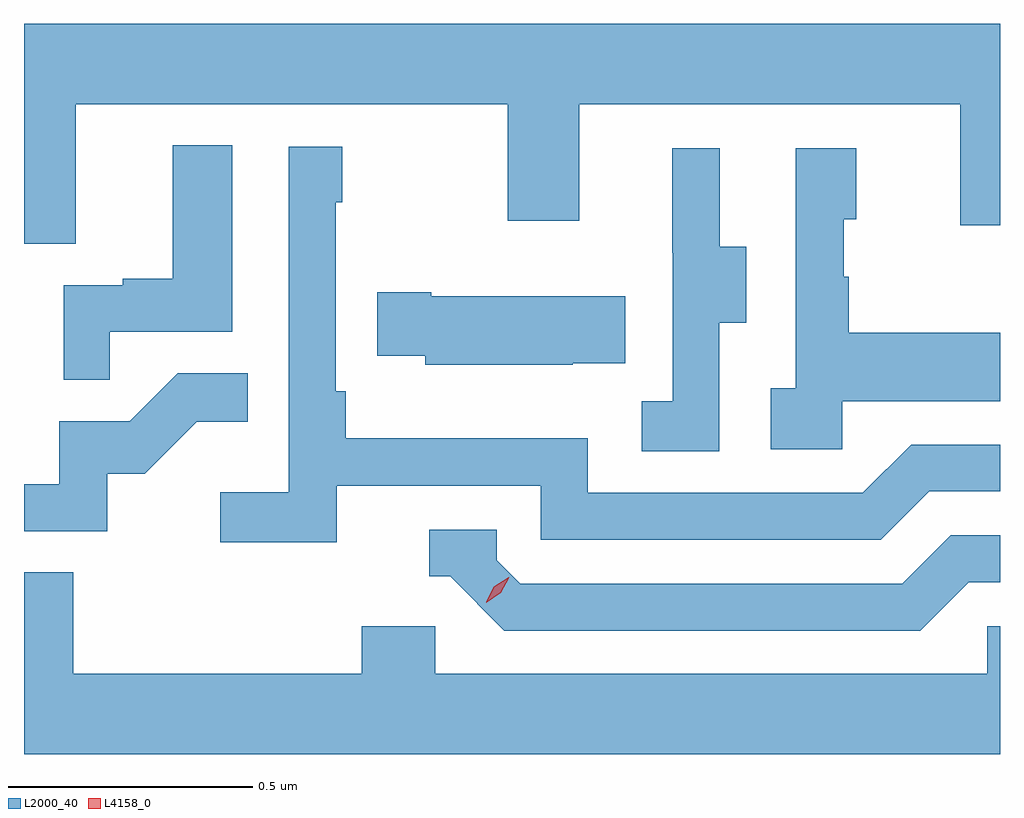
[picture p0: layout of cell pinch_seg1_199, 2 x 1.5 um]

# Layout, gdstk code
import gdstk
lib = gdstk.Library(unit=1e-6, precision=1e-09)
def P(c, l, *ps):  # polygons
    for p in ps: c.add(gdstk.Polygon(p, *l))
L2000_40 = (2000, 40)
L4158_0 = (4158, 0)

pinch_seg1_199 = lib.new_cell('pinch_seg1_199')
P(pinch_seg1_199, L2000_40, [(964.585,582.368),(965.47,582.368),(965.47,582.129),(965.617,582.129),(965.617,582.368),(966.398,582.368),(966.398,582.12),(966.479,582.12),(966.479,582.532),(964.479,582.532),(964.479,582.082),(964.585,582.082)],
  [(964.655,581.901),(964.906,581.901),(964.906,582.283),(964.784,582.283),(964.784,582.01),(964.681,582.01),(964.681,581.997),(964.56,581.997),(964.56,581.803),(964.655,581.803)],
  [(965.12,581.586),(965.538,581.586),(965.538,581.475),(966.235,581.475),(966.334,581.574),(966.479,581.574),(966.479,581.67),(966.297,581.67),(966.198,581.571),(965.634,581.571),(965.634,581.683),(965.138,581.683),(965.138,581.779),(965.118,581.779),(965.118,582.167),(965.131,582.167),(965.131,582.28),(965.022,582.28),(965.022,581.572),(964.881,581.572),(964.881,581.47),(965.12,581.47)],
  [(965.904,581.92),(965.959,581.92),(965.959,582.075),(965.905,582.075),(965.905,582.277),(965.807,582.277),(965.807,582.063),(965.808,582.063),(965.808,581.759),(965.745,581.759),(965.745,581.656),(965.904,581.656)],
  [(966.156,581.759),(966.479,581.759),(966.479,581.899),(966.169,581.899),(966.169,582.014),(966.159,582.014),(966.159,582.132),(966.184,582.132),(966.184,582.277),(966.06,582.277),(966.06,581.786),(966.009,581.786),(966.009,581.661),(966.156,581.661)],
  [(965.603,581.837),(965.711,581.837),(965.711,581.974),(965.314,581.974),(965.314,581.982),(965.203,581.982),(965.203,581.852),(965.301,581.852),(965.301,581.834),(965.603,581.834)],
  [(964.65,581.61),(964.726,581.61),(964.833,581.717),(964.937,581.717),(964.937,581.816),(964.794,581.816),(964.696,581.718),(964.551,581.718),(964.551,581.589),(964.479,581.589),(964.479,581.493),(964.65,581.493)],
  [(966.415,581.388),(966.479,581.388),(966.479,581.484),(966.378,581.484),(966.279,581.385),(965.496,581.385),(965.448,581.433),(965.448,581.496),(965.309,581.496),(965.309,581.4),(965.352,581.4),(965.463,581.289),(966.316,581.289)],
  [(964.479,581.408),(964.479,581.036),(966.479,581.036),(966.479,581.298),(966.453,581.298),(966.453,581.2),(965.322,581.2),(965.322,581.298),(965.171,581.298),(965.171,581.2),(964.58,581.2),(964.58,581.408)])
P(pinch_seg1_199, L4158_0, [(965.426,581.346),(965.426,581.347),(965.442,581.379),(965.472,581.398),(965.473,581.398),(965.473,581.398),(965.456,581.366),(965.426,581.346)])

lib.write_gds('pinch_seg1_199.gds')
